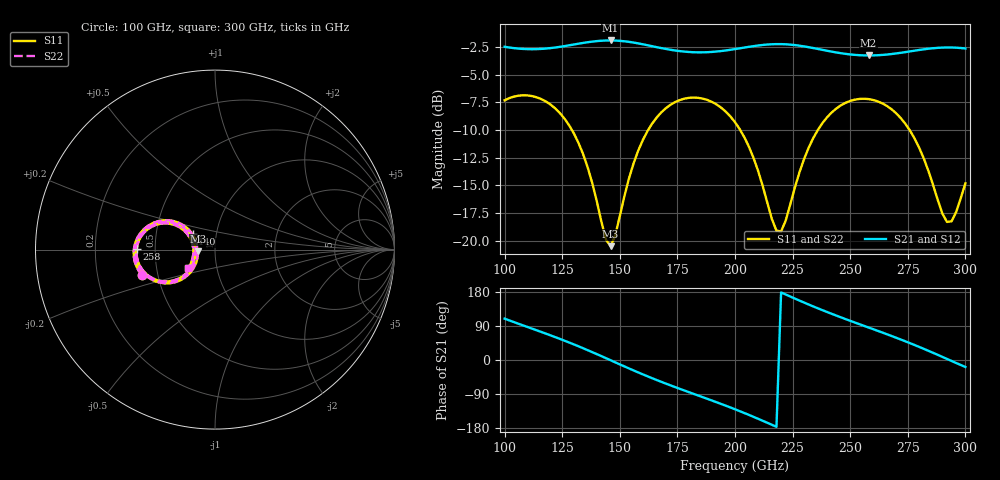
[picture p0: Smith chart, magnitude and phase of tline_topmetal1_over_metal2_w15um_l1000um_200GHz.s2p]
#  GHZ S DB R 50
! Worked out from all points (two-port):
!   101 points, 100 GHz to 300 GHz, reference 50 ohm
!   highest |S21| = -1.90 dB at 146 GHz (marker M1); lowest = -3.3 dB at 258 GHz (marker M2)
!   |S21| within 3 dB of the highest: start of sweep to end of sweep
!   lowest |S11| = -20.5 dB at 146 GHz (marker M3), VSWR 1.21, Z = 41.4 - j0.747 ohm
!   |S11| at or under -10 dB: 129.2 GHz to 162.3 GHz (33.11 GHz wide, 22.7 % of centre); 202.3 GHz to 236 GHz (33.7 GHz wide, 15.4 % of centre); 275.8 GHz to end of sweep
!   |S22| runs from -20.4 to -6.9 dB; largest |S21 - S12| = 8.3e-14
!   S11 on the Smith chart (normalised r, x): 100 GHz: 0.41, -0.14; 140 GHz: 0.77, +0.13; 258 GHz: 0.39, +0.01; 300 GHz: 0.73, -0.15
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100  -7.32 -160.5  -2.47 109.1  -2.47 109.1  -7.31 -160.5
108  -6.86 -175.0  -2.67 91.3  -2.67 91.3  -6.86 -175.0
118  -7.43 167.2  -2.64 69.4  -2.64 69.4  -7.43 167.3
126  -8.97 153.7  -2.41 51.0  -2.41 51.0  -8.97 153.8
134  -12.14 143.2  -2.13 31.3  -2.13 31.3  -12.12 143.4
140  -16.43 145.4  -1.96 15.6  -1.96 15.6  -16.39 145.7
146  -20.50 -174.6  -1.90 -0.7  -1.90 -0.7  -20.38 -174.7
158  -11.86 -138.2  -2.17 -32.8  -2.17 -32.8  -11.85 -138.6
168  -8.41 -152.6  -2.59 -57.6  -2.59 -57.6  -8.40 -152.8
184  -7.09 -179.9  -2.98 -93.7  -2.98 -93.7  -7.09 179.9
200  -9.29 154.1  -2.68 -130.0  -2.68 -130.0  -9.29 153.9
208  -12.50 145.7  -2.42 -149.9  -2.42 -149.9  -12.50 145.5
218  -19.10 173.7  -2.23 -176.4  -2.23 -176.4  -19.11 173.5
222  -18.19 -156.0  -2.25 172.8  -2.25 172.8  -18.20 -156.2
234  -10.72 -143.5  -2.59 141.3  -2.59 141.3  -10.72 -143.6
246  -7.77 -161.1  -3.06 112.5  -3.06 112.5  -7.77 -161.2
258  -7.21 179.3  -3.26 85.7  -3.26 85.7  -7.21 179.1
268  -8.13 163.4  -3.13 63.3  -3.13 63.3  -8.13 163.2
280  -11.63 148.6  -2.76 34.4  -2.76 34.4  -11.63 148.4
292  -18.31 176.3  -2.54 2.9  -2.54 2.9  -18.31 176.1
296  -17.41 -158.1  -2.56 -7.9  -2.56 -7.9  -17.40 -158.3
300  -14.82 -145.5  -2.63 -18.5  -2.63 -18.5  -14.82 -145.8
